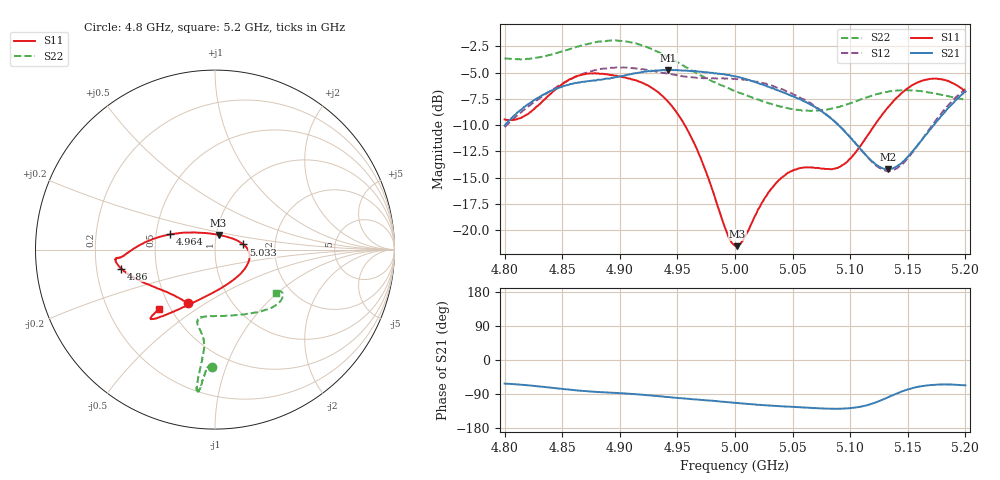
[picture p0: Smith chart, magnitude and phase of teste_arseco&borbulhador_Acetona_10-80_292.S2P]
! Network Analyzer HP8722D
! Hewlett-Packard
! Data name: Linha & Wilkinson
! Saver's name: Rodrigo Anjos
! Comments: Teste da utilização de aquisição
! continua pelo VNA HP8722D
! Time and date: 17/4/2025 16:47
!  Frequency  S11  S21  S12  S22
# HZ  S  MA R 50
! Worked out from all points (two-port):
!   401 points, 4.8 GHz to 5.2 GHz, reference 50 ohm
!   highest |S21| = -4.74 dB at 4.942 GHz (marker M1); lowest = -14.2 dB at 5.133 GHz (marker M2)
!   |S21| within 3 dB of the highest: 4.824 GHz to 5.06 GHz (236.2 MHz wide, 4.78 % of centre); 5.190682 GHz to end of sweep
!   lowest |S11| = -21.5 dB at 5.002 GHz (marker M3), VSWR 1.18, Z = 51.3 + j8.44 ohm
!   |S11| at or under -10 dB: 4.956 GHz to 5.121 GHz (164.9 MHz wide, 3.27 % of centre)
!   |S22| runs from -8.6 to -1.9 dB; largest |S21 - S12| = 0.87
!   S11 on the Smith chart (normalised r, x): 4.8 GHz: 0.63, -0.42; 4.86 GHz: 0.31, -0.09; 4.964 GHz: 0.59, +0.11; 5.033 GHz: 1.37, +0.08; 5.2 GHz: 0.43, -0.36
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4.8e9  0.3365 -116.9  0.3146 -62.3  0.3099 -176.5  0.657 -91.4
4.819e9  0.3544 -137.1  0.3933 -66.5  0.3814 -176.2  0.6537 -93.0
4.86e9  0.5332 -168.5  0.5 -79.3  0.5308 -179.5  0.7354 -95.5
4.867e9  0.5487 -171.2  0.5079 -81.4  0.5518 179.2  0.7568 -95.7
4.899e9  0.5388 -175.2  0.5374 -87.5  0.5938 173.2  0.7968 -97.2
4.934e9  0.4504 179.1  0.5753 -95.8  0.5673 169.9  0.7012 -97.4
4.942e9  0.4085 175.6  0.5793 -97.9  0.5556 170.2  0.6666 -97.1
4.964e9  0.2636 161.2  0.5708 -103.6  0.5331 172.0  0.5685 -96.4
4.993e9  0.09724 111.5  0.5482 -111.1  0.5267 174.2  0.4759 -98.8
5e9  0.08437 84.4  0.5388 -113.1  0.5259 174.3  0.459 -100.1
5.002e9  0.08406 76.2  0.537 -113.5  0.5231 174.2  0.456 -100.6
5.033e9  0.1613 10.2  0.4754 -120.7  0.4859 172.8  0.396 -103.5
5.048e9  0.1904 -4.1  0.4388 -123.3  0.4509 172.5  0.3784 -99.2
5.067e9  0.199 -24.3  0.3924 -126.5  0.3976 172.0  0.3703 -88.3
5.096e9  0.2092 -74.6  0.292 -127.9  0.2928 174.9  0.3954 -65.9
5.12e9  0.3094 -110.6  0.2113 -114.2  0.2089 -169.3  0.4382 -50.0
5.133e9  0.3855 -120.8  0.195 -98.1  0.1915 -151.4  0.4565 -43.7
5.134e9  0.3911 -121.5  0.1951 -96.8  0.1914 -149.8  0.4581 -43.3
5.147e9  0.46 -127.4  0.2147 -80.7  0.2111 -131.2  0.4636 -38.5
5.168e9  0.523 -132.2  0.295 -66.9  0.2988 -113.1  0.4518 -33.5
5.184e9  0.5145 -133.4  0.376 -64.6  0.3873 -108.9  0.4355 -32.4
5.2e9  0.4563 -133.3  0.4581 -66.9  0.4703 -109.0  0.4171 -35.0
